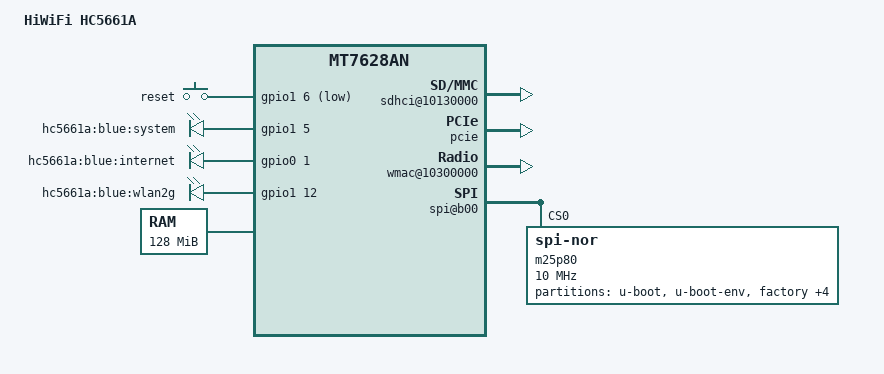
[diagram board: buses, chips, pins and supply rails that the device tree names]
/dts-v1/;

#include "mt7628an.dtsi"

/ {
	compatible = "HC5661A", "mediatek,mt7628an-soc";
	model = "HiWiFi HC5661A";

	pinctrl {
		state_default: pinctrl0 {
			gpio {
				ralink,group = "refclk","wled_an","i2s";
				ralink,function = "gpio";
			};
		};
	};

	wmac@10180000 {
		ralink,mtd-eeprom = <&factory 0>;
	};

	ethernet {
		mtd-mac-address = <&factory 0x4>;
		ralink,port-map = "wllll";
	};

	gpio-keys-polled {
		compatible = "gpio-keys-polled";
		#address-cells = <1>;
		#size-cells = <0>;
		poll-interval = <20>;

		reset {
			label = "reset";
			gpios = <&gpio1 6 1>;
			linux,code = <0x198>;
		};
	};

	
	sdhci@10130000 {
		status = "okay";
	};

	pcie {
		status = "okay";
	};

	gpio-leds {
		compatible = "gpio-leds";
		
		system {
			label = "hc5661a:blue:system";
			gpios = <&gpio1 5 0>;
		};

		internet {
			label = "hc5661a:blue:internet";
			gpios = <&gpio0 1 0>;
		};

		wlan2g {
			label = "hc5661a:blue:wlan2g";
			gpios = <&gpio1 12 0>;
		}; 
	};

	chosen {
		bootargs = "console=ttyS0,115200";
	};

	memory@0 {
		device_type = "memory";
		reg = <0x0 0x8000000>;
	};

	pinctrl {
		state_default: pinctrl0 {
			gpio {
				ralink,group = "i2c", "jtag";
				ralink,function = "gpio";
			};
		};
	};

	wmac@10300000 {
		status= "okay";
	};

	palmbus@10000000 {
		spi@b00 {
			status = "okay";

			m25p80@0 {
				#address-cells = <1>;
				#size-cells = <1>;
				compatible = "jedec,spi-nor";
				reg = <0>;
				linux,modalias = "m25p80", "w25q128";
				spi-max-frequency = <10000000>;
				m25p,chunked-io = <32>;

				partition@0 {
					label = "u-boot";
					reg = <0x0 0x30000>;
				};

				partition@30000 {
					label = "u-boot-env";
					reg = <0x30000 0x10000>;
					read-only;
				};

				factory: partition@40000 {
					label = "factory";
					reg = <0x40000 0x10000>;
				};

				partition@50000 {
					label = "firmware";
					reg = <0x50000 0xf80000>;
				};

				partition@fd0000 {
					label = "hwf_config";
					reg = <0xfd0000 0x10000>;
				};

				bdinfo: partition@fe0000 {
					label = "bdinfo";
					reg = <0xfe0000 0x10000>;
				};

				partition@ff0000 {
					label = "backup";
					reg = <0xff0000 0x10000>;
				};
			};
		};
	};
};
